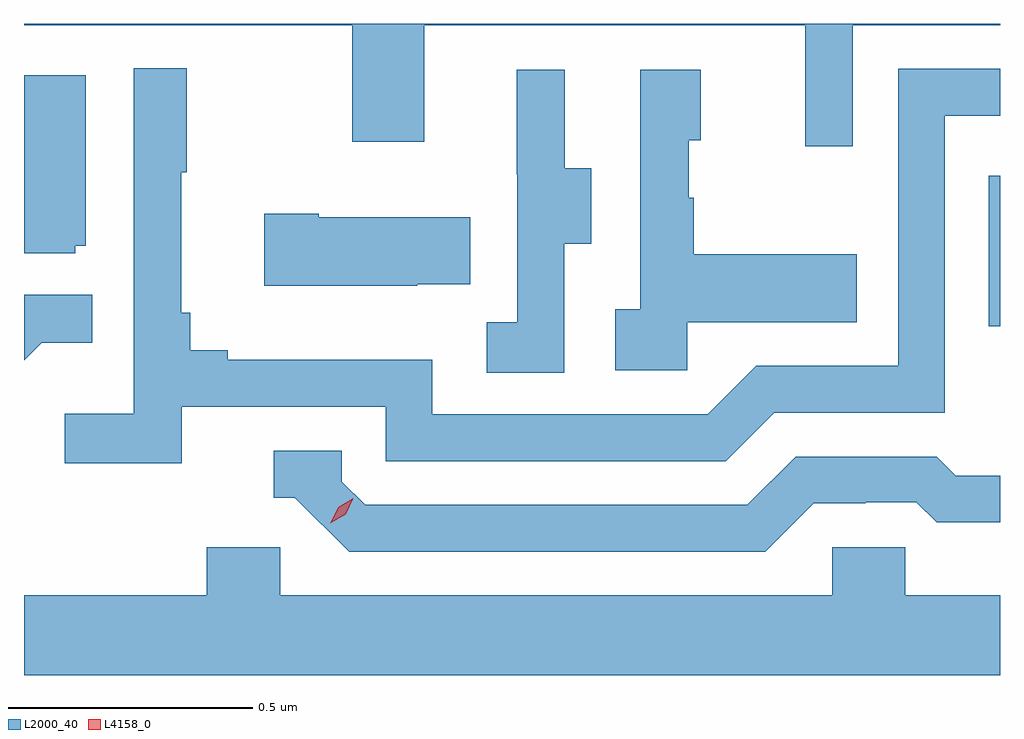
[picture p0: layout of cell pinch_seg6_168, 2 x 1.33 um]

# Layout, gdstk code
import gdstk
lib = gdstk.Library(unit=1e-6, precision=1e-09)
def R(c, l, rs):  # rectangles x0, y0, x1, y1
    for r in rs: c.add(gdstk.rectangle(r[:2], r[2:], *l))
def P(c, l, *ps):  # polygons
    for p in ps: c.add(gdstk.Polygon(p, *l))
L2000_40 = (2000, 40)
L4158_0 = (4158, 0)

pinch_seg6_168 = lib.new_cell('pinch_seg6_168')
R(pinch_seg6_168, L2000_40, [(1031.82,938.727,1031.843,939.036)])
P(pinch_seg6_168, L2000_40, [(1029.843,939.344),(1030.516,939.344),(1030.516,939.105),(1030.663,939.105),(1030.663,939.344),(1031.444,939.344),(1031.444,939.096),(1031.541,939.096),(1031.541,939.344),(1031.843,939.344),(1031.843,939.347),(1029.843,939.347)],
  [(1030.166,938.562),(1030.584,938.562),(1030.584,938.451),(1031.281,938.451),(1031.38,938.55),(1031.73,938.55),(1031.73,939.159),(1031.843,939.159),(1031.843,939.255),(1031.634,939.255),(1031.634,938.646),(1031.343,938.646),(1031.244,938.547),(1030.68,938.547),(1030.68,938.659),(1030.261,938.659),(1030.261,938.678),(1030.184,938.678),(1030.184,938.755),(1030.165,938.755),(1030.165,939.043),(1030.177,939.043),(1030.177,939.256),(1030.068,939.256),(1030.068,938.548),(1029.927,938.548),(1029.927,938.446),(1030.166,938.446)],
  [(1031.202,938.735),(1031.549,938.735),(1031.549,938.875),(1031.215,938.875),(1031.215,938.99),(1031.205,938.99),(1031.205,939.108),(1031.23,939.108),(1031.23,939.253),(1031.106,939.253),(1031.106,938.762),(1031.055,938.762),(1031.055,938.637),(1031.202,938.637)],
  [(1030.95,938.896),(1031.005,938.896),(1031.005,939.051),(1030.951,939.051),(1030.951,939.253),(1030.853,939.253),(1030.853,939.039),(1030.854,939.039),(1030.854,938.735),(1030.791,938.735),(1030.791,938.632),(1030.95,938.632)],
  [(1029.948,938.892),(1029.97,938.892),(1029.97,939.241),(1029.843,939.241),(1029.843,938.877),(1029.948,938.877)],
  [(1030.649,938.813),(1030.757,938.813),(1030.757,938.95),(1030.447,938.95),(1030.447,938.958),(1030.335,938.958),(1030.335,938.81),(1030.649,938.81)],
  [(1029.879,938.693),(1029.983,938.693),(1029.983,938.792),(1029.843,938.792),(1029.843,938.657)],
  [(1031.461,938.364),(1031.568,938.364),(1031.568,938.367),(1031.671,938.367),(1031.713,938.325),(1031.843,938.325),(1031.843,938.421),(1031.752,938.421),(1031.713,938.46),(1031.424,938.46),(1031.325,938.361),(1030.542,938.361),(1030.494,938.409),(1030.494,938.472),(1030.355,938.472),(1030.355,938.376),(1030.398,938.376),(1030.509,938.265),(1031.362,938.265)],
  [(1031.843,938.176),(1031.649,938.176),(1031.649,938.274),(1031.499,938.274),(1031.499,938.176),(1030.368,938.176),(1030.368,938.274),(1030.217,938.274),(1030.217,938.176),(1029.843,938.176),(1029.843,938.012),(1031.843,938.012)])
P(pinch_seg6_168, L4158_0, [(1030.471,938.323),(1030.471,938.323),(1030.487,938.356),(1030.518,938.375),(1030.518,938.375),(1030.518,938.375),(1030.502,938.342),(1030.471,938.323)])

lib.write_gds('pinch_seg6_168.gds')
